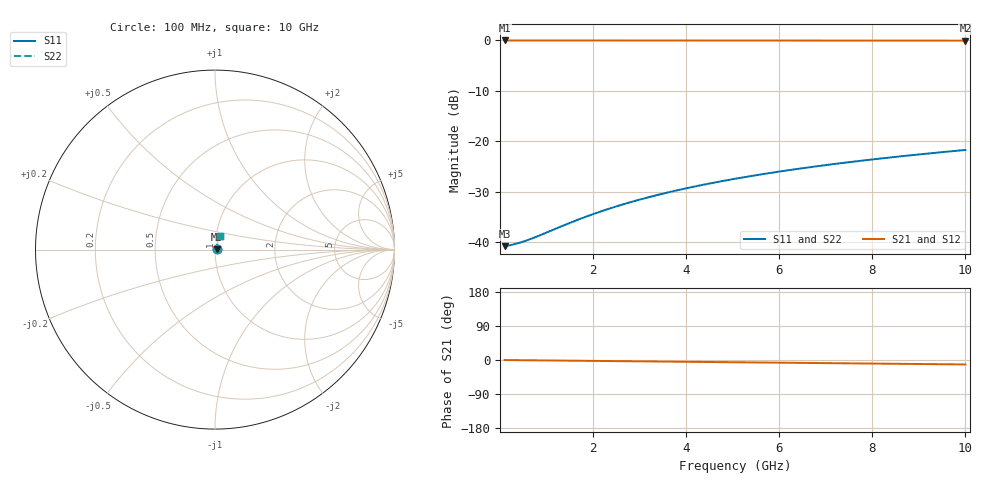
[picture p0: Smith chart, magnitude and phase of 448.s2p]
# Hz S RI R 50.00
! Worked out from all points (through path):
!   100 points, 100 MHz to 10 GHz, reference 50 ohm
!   highest |S21| = -0.08 dB at 100 MHz (marker M1); lowest = -0.1 dB at 10 GHz (marker M2)
!   group delay of S21, straight-line fit = 3.26 ps
!   lowest |S11| = -40.8 dB at 100 MHz (marker M3), VSWR 1.02, Z = 50.9 + j0.0815 ohm
!   |S11| at or under -10 dB: start of sweep to end of sweep
!   |S22| runs from -40.8 to -21.8 dB; largest |S21 - S12| = 0
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1e8  0.00909 0.0008  0.9909 -0.00204  0.9909 -0.00204  0.00909 0.0008
2e8  0.00915 0.0016  0.9908 -0.00407  0.9908 -0.00407  0.00915 0.0016
3e8  0.00921 0.0024  0.9908 -0.00611  0.9908 -0.00611  0.00921 0.0024
4e8  0.00925 0.0032  0.9907 -0.00814  0.9907 -0.00814  0.00925 0.0032
6e8  0.00934 0.0048  0.9906 -0.0122  0.9906 -0.0122  0.00934 0.0048
8e8  0.00943 0.0064  0.9905 -0.0163  0.9905 -0.0163  0.00943 0.0064
1.5e9  0.00981 0.012  0.99 -0.0305  0.99 -0.0305  0.00981 0.012
1.8e9  0.01 0.0144  0.9897 -0.0366  0.9897 -0.0366  0.01 0.0144
2.2e9  0.0103 0.0176  0.9893 -0.0447  0.9893 -0.0447  0.0103 0.0176
2.6e9  0.0107 0.0207  0.9888 -0.0529  0.9888 -0.0529  0.0107 0.0207
3e9  0.0111 0.0239  0.9882 -0.061  0.9882 -0.061  0.0111 0.0239
3.4e9  0.0115 0.0271  0.9875 -0.0691  0.9875 -0.0691  0.0115 0.0271
3.8e9  0.012 0.0302  0.9868 -0.0772  0.9868 -0.0772  0.012 0.0302
4.2e9  0.0126 0.0334  0.986 -0.0853  0.986 -0.0853  0.0126 0.0334
4.6e9  0.0132 0.0365  0.9851 -0.0933  0.9851 -0.0933  0.0132 0.0365
5.1e9  0.014 0.0404  0.9839 -0.1034  0.9839 -0.1034  0.014 0.0404
5.9e9  0.0155 0.0466  0.9817 -0.1195  0.9817 -0.1195  0.0155 0.0466
6.7e9  0.0172 0.0527  0.9793 -0.1355  0.9793 -0.1355  0.0172 0.0527
7.5e9  0.0191 0.0588  0.9765 -0.1515  0.9765 -0.1515  0.0191 0.0588
8.4e9  0.0215 0.0656  0.973 -0.1694  0.973 -0.1694  0.0215 0.0656
9.2e9  0.0238 0.0715  0.9696 -0.1852  0.9696 -0.1852  0.0238 0.0715
1e10  0.0263 0.0774  0.9659 -0.2009  0.9659 -0.2009  0.0263 0.0774
